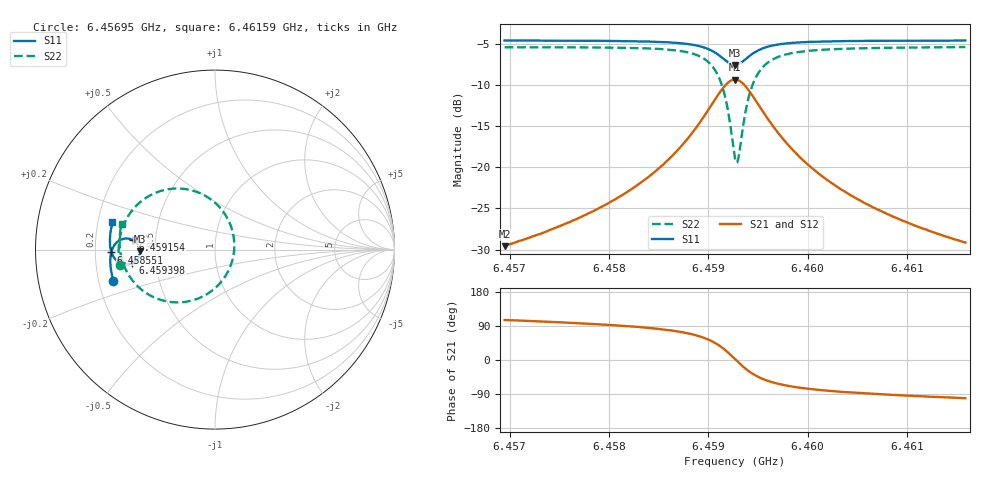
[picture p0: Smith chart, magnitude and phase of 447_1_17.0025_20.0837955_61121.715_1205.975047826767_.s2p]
#  HZ  S  RI  R  50.00
! Rohde & Schwarz Vector Network Analyzer
! Rohde-Schwarz,ZNB20-2Port,1311601062101988,3.16
! Created: UTC 3/20/2024, 11:12:06 PM
! freq[Hz]  re:S11  im:S11  re:S21  im:S21  re:S12  im:S12  re:S22  im:S22
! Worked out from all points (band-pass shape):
!   401 points, 6.45695 GHz to 6.46159 GHz, reference 50 ohm
!   highest |S21| = -9.30 dB at 6.45927 GHz (marker M1); lowest = -29.6 dB at 6.45695 GHz (marker M2)
!   |S21| within 3 dB of the highest: 6.459038 GHz to 6.459502 GHz (463.8 kHz wide, 0.00718 % of centre)
!   lowest |S11| = -7.5 dB at 6.45927 GHz (marker M3), VSWR 2.45, Z = 20.4 - j0.516 ohm
!   |S11| at or under -10 dB: nowhere
!   |S22| runs from -19.4 to -5.4 dB; largest |S21 - S12| = 0.013
!   S11 on the Smith chart (normalised r, x): 6.45695 GHz: 0.26, -0.14; 6.458551 GHz: 0.27, -0.01; 6.459154 GHz: 0.37, +0.05; 6.459398 GHz: 0.37, -0.07; 6.46159 GHz: 0.26, +0.12
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6.45695e9  -0.566 -0.1742  -0.00884 0.032  -0.00724 0.0321  -0.5313 -0.0872
6.4577272e9  -0.5805 -0.1065  -0.00568 0.0499  -0.00322 0.0493  -0.5374 0.00314
6.4581796e9  -0.5835 -0.061  0.000741 0.0705  0.00395 0.0692  -0.5285 0.0748
6.4585044e9  -0.5798 -0.0222  0.0138 0.098  0.0178 0.0951  -0.5045 0.1481
6.4585508e9  -0.5785 -0.0159  0.0171 0.1032  0.0212 0.1003  -0.4982 0.1613
6.4587595e9  -0.5663 0.0158  0.043 0.1347  0.0472 0.13  -0.4497 0.2324
6.4589103e9  -0.5453 0.0421  0.0852 0.1648  0.0887 0.1583  -0.3717 0.2965
6.4590611e9  -0.4995 0.0617  0.1764 0.1838  0.1774 0.1765  -0.2051 0.3403
6.4591539e9  -0.4553 0.0519  0.2658 0.1531  0.266 0.1472  -0.0398 0.291
6.4592003e9  -0.4343 0.0332  0.3091 0.1107  0.3104 0.1054  0.0426 0.2156
6.4592699e9  -0.4195 -0.0104  0.3423 0.0146  0.3458 0.00774  0.1074 0.0372
6.4592815e9  -0.4199 -0.0184  0.3422 -0.00297  0.346 -0.0106  0.1072 0.00385
6.4593047e9  -0.4233 -0.0339  0.3368 -0.0375  0.3405 -0.0465  0.0962 -0.0614
6.4593511e9  -0.4388 -0.0598  0.3085 -0.0969  0.3106 -0.1087  0.0393 -0.1737
6.4593975e9  -0.4606 -0.0759  0.2668 -0.1377  0.266 -0.1508  -0.045 -0.2483
6.4594903e9  -0.5036 -0.0826  0.1828 -0.1688  0.1767 -0.1801  -0.2123 -0.2941
6.4596411e9  -0.5471 -0.0622  0.0955 -0.1551  0.0872 -0.1613  -0.3788 -0.2452
6.4598035e9  -0.5684 -0.0345  0.0511 -0.1275  0.0434 -0.1303  -0.4585 -0.1736
6.4600471e9  -0.5812 0.0012  0.0222 -0.0963  0.0164 -0.0969  -0.5061 -0.0918
6.4604066e9  -0.5856 0.0435  0.00582 -0.0691  0.0018 -0.0686  -0.5279 -0.0107
6.4608242e9  -0.5835 0.0852  -0.00139 -0.0515  -0.00425 -0.0505  -0.5316 0.0553
6.4615898e9  -0.5711 0.1527  -0.00653 -0.0343  -0.00826 -0.0333  -0.52 0.1451
